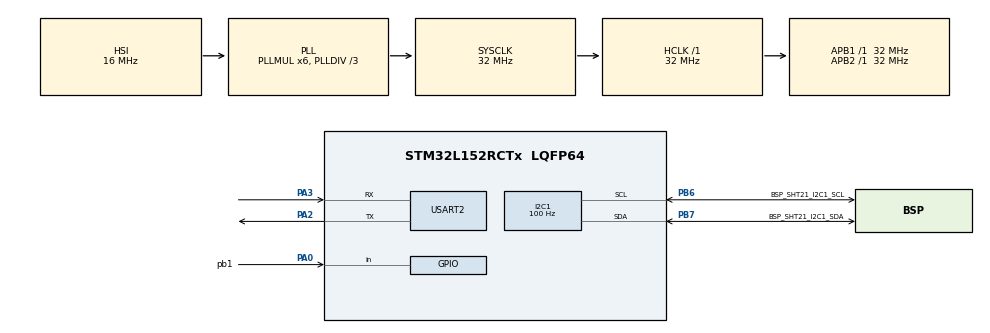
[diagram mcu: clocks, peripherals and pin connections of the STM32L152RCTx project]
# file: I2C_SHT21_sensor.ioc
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I2C1.ClockSpeed=100
Mcu.Family=STM32L1
Mcu.Name=STM32L152RCTx
Mcu.Package=LQFP64
NVIC.I2C1_EV_IRQn=true\:0\:0\:false\:false\:true\:true\:true\:true
NVIC.PriorityGroup=NVIC_PRIORITYGROUP_0
PA0-WKUP1.GPIO_Label=pb1
PA0-WKUP1.Signal=GPIO_Input
PA2.Mode=Asynchronous
PA2.Signal=USART2_TX
PA3.Mode=Asynchronous
PA3.Signal=USART2_RX
PB6.GPIO_Label=BSP_SHT21_I2C1_SCL
PB6.Mode=I2C
PB6.Signal=I2C1_SCL
PB7.GPIO_Label=BSP_SHT21_I2C1_SDA
PB7.Mode=I2C
PB7.Signal=I2C1_SDA
ProjectManager.HeapSize=0x200
ProjectManager.StackSize=0x400
ProjectManager.TargetToolchain=STM32CubeIDE
RCC.48MHZClocksFreq_Value=48000000
RCC.AHBFreq_Value=32000000
RCC.APB1Freq_Value=32000000
RCC.APB1TimFreq_Value=32000000
RCC.APB2Freq_Value=32000000
RCC.APB2TimFreq_Value=32000000
RCC.HCLKFreq_Value=32000000
RCC.HSE_VALUE=8000000
RCC.HSI_VALUE=16000000
RCC.LSE_VALUE=32768
RCC.MSI_VALUE=2097000
RCC.PLLDIV=RCC_PLL_DIV3
RCC.PLLMUL=RCC_PLL_MUL6
RCC.RTCClockSelectionVirtual=RCC_RTCCLKSOURCE_LSE
RCC.SYSCLKFreq_VALUE=32000000
RCC.SYSCLKSource=RCC_SYSCLKSOURCE_PLLCLK
RCC.USBOutput=48000000
RCC.VCOOutputFreq_Value=96000000
USART2.VirtualMode=VM_ASYNC
board=STM32L152C-DISCO

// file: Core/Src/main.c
/* USER CODE BEGIN Header */
/**
  ******************************************************************************
  * @file           : main.c
  * @brief          : Main program body
  ******************************************************************************
  * @attention
  *
  * Copyright (c) 2023 STMicroelectronics.
  * All rights reserved.
  *
  * This software is licensed under terms that can be found in the LICENSE file
  * in the root directory of this software component.
  * If no LICENSE file comes with this software, it is provided AS-IS.
  *
  ******************************************************************************
  */
/* USER CODE END Header */
#include "main.h"

/* USER CODE BEGIN Includes */
#include<stdio.h>
#include<sht21_driver.h>
#include<stdbool.h>
/* USER CODE END Includes */

I2C_HandleTypeDef hi2c1;

UART_HandleTypeDef huart2;

/* USER CODE BEGIN PV */
static volatile bool flag = 0;

/* USER CODE END PV */

void SystemClock_Config(void);
static void MX_GPIO_Init(void);
static void MX_I2C1_Init(void);
static void MX_USART2_UART_Init(void);

/* USER CODE BEGIN 0 */
void i2c_scanner(I2C_HandleTypeDef *i2c) {

	printf("Scanning I2C bus:\r\n");
	HAL_StatusTypeDef ret;
	uint16_t i = 0;

	for (i = 1; i < 128; i++) {
		ret = HAL_I2C_IsDeviceReady(i2c, (uint16_t) (i << 1), 3, 10);
		if (ret != HAL_OK) /* No ACK Received At That Address */
		{
			printf("-");
		} else if (ret == HAL_OK) {
			printf("0x%X",i<<1);
		}
	}
	printf("\r\n");
}

//void HAL_I2C_MasterTxCpltCallback(I2C_HandleTypeDef *hi2c)
//    {
//    	flag=1;
//    }

/* USER CODE END 0 */

int main(void)
{
  /* USER CODE BEGIN 1 */
// flag = 0;
//	  DWT->CYCCNT = 0;

  /* USER CODE END 1 */

  /* MCU Configuration--------------------------------------------------------*/

  /* Reset of all peripherals, Initializes the Flash interface and the Systick. */
  HAL_Init();

  /* Configure the system clock */
  SystemClock_Config();

  /* Initialize all configured peripherals */
  MX_GPIO_Init();
  MX_I2C1_Init();
  MX_USART2_UART_Init();
  /* USER CODE BEGIN 2 */
  i2c_scanner(&hi2c1);

  // Initialize and configure the SHT21 //
    SHT21_t sht21_d;
   // SHT2x_peripheral_config();
//    uint8_t check = SHT2x_init(DISABLE_OTP | RH_12_TEM_14);

    uint8_t check = SHT2x_init(DISABLE_OTP | RH_12_TEM_14);

//    void HAL_I2C_MasterTxCpltCallback(I2C_HandleTypeDef *hi2c){
//    	flag=1;
//    }

    // Confirm Initialization //
     if(check == SHT21_SUCCESS)
     printf("SHT21 Initialization succesfull\n");

  /* USER CODE END 2 */

  /* Infinite loop */
  while (1)
  {

    /* USER CODE BEGIN 3 */

	//printf("ok_done\r\n");

	  // Button Press //
//	     if(flag == 1)

	       // Get measurements //
	       SHT2x_CalcTemp(&sht21_d);
	       SHT2x_CalcHumid(&sht21_d);
	       printf("Temp is %.3f and humidity %.3f\n", sht21_d.temperature, sht21_d.humidity);
	       HAL_Delay(1000);
	       //   flag = 0;

  }
  /* USER CODE END 3 */
}

void SystemClock_Config(void)
{
  RCC_OscInitTypeDef RCC_OscInitStruct = {0};
  RCC_ClkInitTypeDef RCC_ClkInitStruct = {0};

  /** Configure the main internal regulator output voltage
  */
  __HAL_PWR_VOLTAGESCALING_CONFIG(PWR_REGULATOR_VOLTAGE_SCALE1);

  /** Initializes the RCC Oscillators according to the specified parameters
  * in the RCC_OscInitTypeDef structure.
  */
  RCC_OscInitStruct.OscillatorType = RCC_OSCILLATORTYPE_HSI;
  RCC_OscInitStruct.HSIState = RCC_HSI_ON;
  RCC_OscInitStruct.HSICalibrationValue = RCC_HSICALIBRATION_DEFAULT;
  RCC_OscInitStruct.PLL.PLLState = RCC_PLL_ON;
  RCC_OscInitStruct.PLL.PLLSource = RCC_PLLSOURCE_HSI;
  RCC_OscInitStruct.PLL.PLLMUL = RCC_PLL_MUL6;
  RCC_OscInitStruct.PLL.PLLDIV = RCC_PLL_DIV3;
  if (HAL_RCC_OscConfig(&RCC_OscInitStruct) != HAL_OK)
  {
    Error_Handler();
  }

  /** Initializes the CPU, AHB and APB buses clocks
  */
  RCC_ClkInitStruct.ClockType = RCC_CLOCKTYPE_HCLK|RCC_CLOCKTYPE_SYSCLK
                              |RCC_CLOCKTYPE_PCLK1|RCC_CLOCKTYPE_PCLK2;
  RCC_ClkInitStruct.SYSCLKSource = RCC_SYSCLKSOURCE_PLLCLK;
  RCC_ClkInitStruct.AHBCLKDivider = RCC_SYSCLK_DIV1;
  RCC_ClkInitStruct.APB1CLKDivider = RCC_HCLK_DIV1;
  RCC_ClkInitStruct.APB2CLKDivider = RCC_HCLK_DIV1;

  if (HAL_RCC_ClockConfig(&RCC_ClkInitStruct, FLASH_LATENCY_1) != HAL_OK)
  {
    Error_Handler();
  }
}

static void MX_I2C1_Init(void)
{

  hi2c1.Instance = I2C1;
  hi2c1.Init.ClockSpeed = 100;
  hi2c1.Init.DutyCycle = I2C_DUTYCYCLE_2;
  hi2c1.Init.OwnAddress1 = 0;
  hi2c1.Init.AddressingMode = I2C_ADDRESSINGMODE_7BIT;
  hi2c1.Init.DualAddressMode = I2C_DUALADDRESS_DISABLE;
  hi2c1.Init.OwnAddress2 = 0;
  hi2c1.Init.GeneralCallMode = I2C_GENERALCALL_DISABLE;
  hi2c1.Init.NoStretchMode = I2C_NOSTRETCH_DISABLE;
  if (HAL_I2C_Init(&hi2c1) != HAL_OK)
  {
    Error_Handler();
  }

}

static void MX_USART2_UART_Init(void)
{

  huart2.Instance = USART2;
  huart2.Init.BaudRate = 115200;
  huart2.Init.WordLength = UART_WORDLENGTH_8B;
  huart2.Init.StopBits = UART_STOPBITS_1;
  huart2.Init.Parity = UART_PARITY_NONE;
  huart2.Init.Mode = UART_MODE_TX_RX;
  huart2.Init.HwFlowCtl = UART_HWCONTROL_NONE;
  huart2.Init.OverSampling = UART_OVERSAMPLING_16;
  if (HAL_UART_Init(&huart2) != HAL_OK)
  {
    Error_Handler();
  }

}

static void MX_GPIO_Init(void)
{
  GPIO_InitTypeDef GPIO_InitStruct = {0};

  /* GPIO Ports Clock Enable */
  __HAL_RCC_GPIOA_CLK_ENABLE();
  __HAL_RCC_GPIOB_CLK_ENABLE();

  /*Configure GPIO pin : pb1_Pin */
  GPIO_InitStruct.Pin = pb1_Pin;
  GPIO_InitStruct.Mode = GPIO_MODE_INPUT;
  GPIO_InitStruct.Pull = GPIO_NOPULL;
  HAL_GPIO_Init(pb1_GPIO_Port, &GPIO_InitStruct);

}

void Error_Handler(void)
{
  __disable_irq();
  while (1)
  {
  }
}
